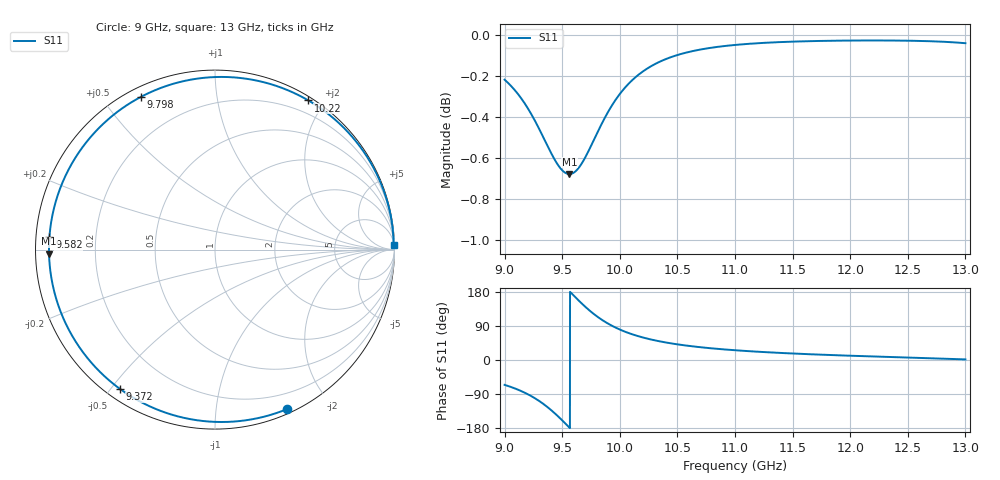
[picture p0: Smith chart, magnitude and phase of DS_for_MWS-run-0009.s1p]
! TOUCHSTONE file generated by CST DESIGN STUDIO
! Date and time: Tue Feb  4 14:25:38 2025
! Project name: C:\Work\MatlabApps\UnitCellOptimizationMatlab\CST\unitcell.cst
! Tree item: Tasks\Sweep1\SPara1\S-Parameters
! Header version: 2024
! Port assignment regex: !\s*Touchstone port\s*([0-9]+)\s*=\s*(CST MWS port|CST DES external port|CST DES block port)\s*(.+)\s* \(\"(.*)\"\)(\s*mode\s*([0-9]+))?.*
! Touchstone port assignment:
! Touchstone port 1 = CST DES external port 1 ("")
# GHz S MA R 50
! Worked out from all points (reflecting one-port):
!   4001 points, 9 GHz to 13 GHz, reference 50 ohm
!   lowest |S11| = -0.7 dB at 9.563 GHz (marker M1), VSWR 25.63, Z = 1.95 - j0.631 ohm
!   phase of S11 starts at -66 deg and turns -293 deg over the sweep
!   S11 on the Smith chart (normalised r, x): 9 GHz: 0.04, -1.55; 9.372 GHz: 0.04, -0.53; 9.582 GHz: 0.04, +0.04; 9.798 GHz: 0.04, +0.62; 10.22 GHz: 0.04, +1.81; 13 GHz: 12, +70
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9  0.9751 -65.7
9.043  0.9725 -69.9
9.11  0.9677 -77.6
9.224  0.9573 -94.0
9.302  0.9483 -108.5
9.372  0.9397 -124.2
9.434  0.9325 -140.2
9.5  0.9269 -159.3
9.532  0.9254 -169.0
9.563  0.9249 -178.6
9.582  0.9251 175.6
9.636  0.9276 159.0
9.697  0.9332 141.4
9.747  0.9392 128.1
9.798  0.9457 115.9
9.841  0.9511 106.8
9.888  0.9565 97.8
10  0.9673 80.4
10.104  0.9746 68.2
10.219  0.9804 57.9
10.348  0.985 49.1
10.5  0.9886 41.3
10.721  0.9919 33.0
11  0.9942 25.7
11.5  0.9961 17.2
12  0.9967 11.3
12.5  0.9966 6.5
13  0.9952 1.6
